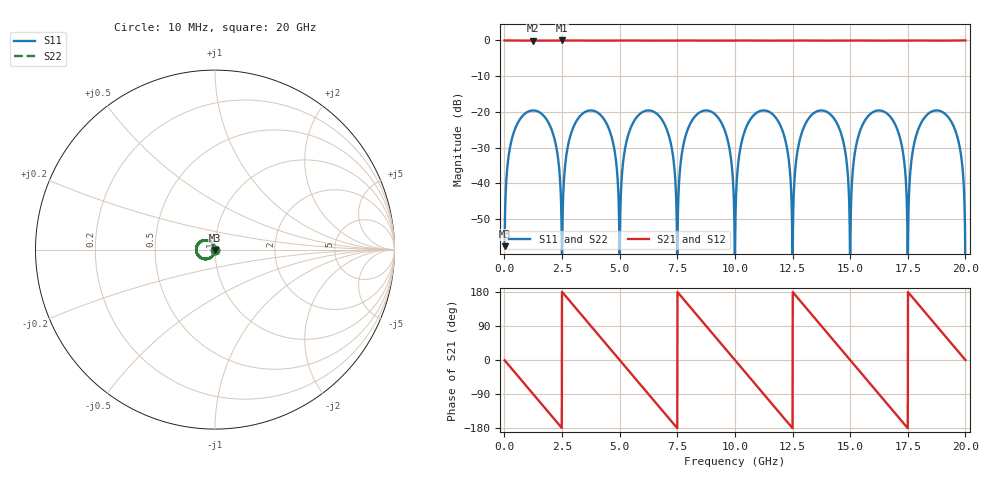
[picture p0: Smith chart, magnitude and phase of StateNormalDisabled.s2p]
! File created by SignalIntegrity v1.4.3: Signal and Power Integrity Tools
! https://github.com/Nubis-Communications/SignalIntegrity
# MHz S MA R 50.0
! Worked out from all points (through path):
!   2000 points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, 10 MHz to 20 GHz, reference 50 ohm
!   highest |S21| = 0.00 dB at 2.5 GHz (marker M1); lowest = 0.0 dB at 1.25 GHz (marker M2)
!   group delay of S21, straight-line fit = 200 ps
!   lowest |S11| = -57.5 dB at 10 MHz (marker M3), VSWR 1.00, Z = 50 - j0.133 ohm
!   |S11| at or under -10 dB: start of sweep to end of sweep
!   |S22| runs from - to -19.6 dB; largest |S21 - S12| = 0
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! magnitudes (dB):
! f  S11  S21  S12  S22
! 10 MHz  -57.5  0.0  0.0  -57.5
! 340 MHz  -27.2  0.0  0.0  -27.2
! 1.25 GHz  -19.6  0.0  0.0  -19.6
! 2.5 GHz  -  0.0  0.0  -
! 3.35 GHz  -20.7  0.0  0.0  -20.7
! 5 GHz  -  0.0  0.0  -
! 5.51 GHz  -24.0  0.0  0.0  -24.0
! 6.68 GHz  -20.9  0.0  0.0  -20.9
! 7.49 GHz  -57.5  0.0  0.0  -57.5
! 8.75 GHz  -19.6  0.0  0.0  -19.6
! 10.01 GHz  -57.5  0.0  0.0  -57.5
! 10.77 GHz  -21.2  0.0  0.0  -21.2
! 11.98 GHz  -23.9  0.0  0.0  -23.9
! 12.5 GHz  -  0.0  0.0  -
! 13.34 GHz  -20.8  0.0  0.0  -20.8
! 15 GHz  -  0.0  0.0  -
! 16.67 GHz  -20.8  0.0  0.0  -20.8
! 17.5 GHz  -  0.0  0.0  -
! 18.1 GHz  -22.8  0.0  0.0  -22.8
! 19.43 GHz  -23.2  0.0  0.0  -23.2
! 19.85 GHz  -34.1  0.0  0.0  -34.1
! 20 GHz  -  0.0  0.0  -
